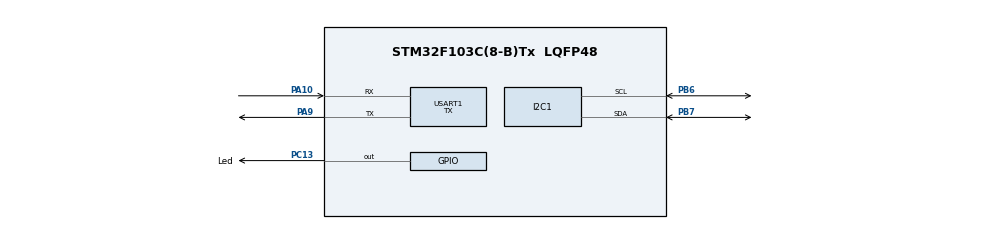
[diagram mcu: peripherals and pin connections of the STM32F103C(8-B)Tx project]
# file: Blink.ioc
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Mcu.Family=STM32F1
PC13-TAMPER-RTC.GPIO_Label=Led
RCC.APB2Freq_Value=8000000
USART1.Mode=MODE_TX
PA10.Mode=Asynchronous
PA14.Mode=Serial_Wire
PB7.Signal=I2C1_SDA
PC13-TAMPER-RTC.Signal=GPIO_Output
PA13.Mode=Serial_Wire
Mcu.Name=STM32F103C(8-B)Tx
Mcu.Package=LQFP48
ProjectManager.StackSize=0x400
PA13.Signal=SYS_JTMS-SWDIO
USART1.VirtualMode=VM_ASYNC
PB7.Mode=I2C
PA9.Mode=Asynchronous
PA10.Signal=USART1_RX
PA14.Signal=SYS_JTCK-SWCLK
ProjectManager.HeapSize=0x200
ProjectManager.TargetToolchain=STM32CubeIDE
NVIC.PriorityGroup=NVIC_PRIORITYGROUP_4
PA9.Signal=USART1_TX
PB6.Signal=I2C1_SCL
PB6.Mode=I2C
RCC.APB1Freq_Value=8000000
board=custom

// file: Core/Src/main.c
/* USER CODE BEGIN Header */
/**
  ******************************************************************************
  * @file           : main.c
  * @brief          : Main program body
  ******************************************************************************
  * @attention
  *
  * <h2><center>&copy; Copyright (c) 2021 STMicroelectronics.
  * All rights reserved.</center></h2>
  *
  * This software component is licensed by ST under BSD 3-Clause license,
  * the "License"; You may not use this file except in compliance with the
  * License. You may obtain a copy of the License at:
  *                        opensource.org/licenses/BSD-3-Clause
  *
  ******************************************************************************
  */
/* USER CODE END Header */
#include "main.h"

I2C_HandleTypeDef hi2c1;

UART_HandleTypeDef huart1;

/* USER CODE BEGIN PV */

uint8_t Buffer[25] = {0};
uint8_t Space[] = " - ";
uint8_t StartMSG[] = "Starting I2C Scanning: \r\n";
uint8_t EndMSG[] = "Done! \r\n\r\n";

/* USER CODE END PV */

void SystemClock_Config(void);
static void MX_GPIO_Init(void);
static void MX_I2C1_Init(void);
static void MX_USART1_UART_Init(void);

int main(void)
{
  /* USER CODE BEGIN 1 */
	 uint8_t i = 0, ret;
  /* USER CODE END 1 */

  /* MCU Configuration--------------------------------------------------------*/

  /* Reset of all peripherals, Initializes the Flash interface and the Systick. */
  HAL_Init();

  /* Configure the system clock */
  SystemClock_Config();

  /* Initialize all configured peripherals */
  MX_GPIO_Init();
  MX_I2C1_Init();
  MX_USART1_UART_Init();
  /* USER CODE BEGIN 2 */

  HAL_Delay(1000);

  /*-[ I2C Bus Scanning ]-*/
      HAL_UART_Transmit(&huart1, StartMSG, sizeof(StartMSG), 10000);
      for(i=1; i<128; i++)
      {
          ret = HAL_I2C_IsDeviceReady(&hi2c1, (uint16_t)(i<<1), 3, 5);
          if (ret != HAL_OK) /* No ACK Received At That Address */
          {
              HAL_UART_Transmit(&huart1, Space, sizeof(Space), 10000);
          }
          else if(ret == HAL_OK)
          {
              sprintf(Buffer, "0x%X", i);
              HAL_UART_Transmit(&huart1, Buffer, sizeof(Buffer), 10000);
          }
      }
      HAL_UART_Transmit(&huart1, EndMSG, sizeof(EndMSG), 10000);

  /* USER CODE END 2 */

  /* Infinite loop */
  /* USER CODE BEGIN WHILE */
  while (1)
  {
	  HAL_GPIO_TogglePin(Led_GPIO_Port,Led_Pin); //Toggle LED

	  HAL_Delay(250); //Delay 1 Seconds
    /* USER CODE END WHILE */

  }
}

void SystemClock_Config(void)
{
  RCC_OscInitTypeDef RCC_OscInitStruct = {0};
  RCC_ClkInitTypeDef RCC_ClkInitStruct = {0};

  /** Initializes the RCC Oscillators according to the specified parameters
  * in the RCC_OscInitTypeDef structure.
  */
  RCC_OscInitStruct.OscillatorType = RCC_OSCILLATORTYPE_HSI;
  RCC_OscInitStruct.HSIState = RCC_HSI_ON;
  RCC_OscInitStruct.HSICalibrationValue = RCC_HSICALIBRATION_DEFAULT;
  RCC_OscInitStruct.PLL.PLLState = RCC_PLL_NONE;
  if (HAL_RCC_OscConfig(&RCC_OscInitStruct) != HAL_OK)
  {
    Error_Handler();
  }
  /** Initializes the CPU, AHB and APB buses clocks
  */
  RCC_ClkInitStruct.ClockType = RCC_CLOCKTYPE_HCLK|RCC_CLOCKTYPE_SYSCLK
                              |RCC_CLOCKTYPE_PCLK1|RCC_CLOCKTYPE_PCLK2;
  RCC_ClkInitStruct.SYSCLKSource = RCC_SYSCLKSOURCE_HSI;
  RCC_ClkInitStruct.AHBCLKDivider = RCC_SYSCLK_DIV1;
  RCC_ClkInitStruct.APB1CLKDivider = RCC_HCLK_DIV1;
  RCC_ClkInitStruct.APB2CLKDivider = RCC_HCLK_DIV1;

  if (HAL_RCC_ClockConfig(&RCC_ClkInitStruct, FLASH_LATENCY_0) != HAL_OK)
  {
    Error_Handler();
  }
}

static void MX_I2C1_Init(void)
{

  hi2c1.Instance = I2C1;
  hi2c1.Init.ClockSpeed = 100000;
  hi2c1.Init.DutyCycle = I2C_DUTYCYCLE_2;
  hi2c1.Init.OwnAddress1 = 0;
  hi2c1.Init.AddressingMode = I2C_ADDRESSINGMODE_7BIT;
  hi2c1.Init.DualAddressMode = I2C_DUALADDRESS_DISABLE;
  hi2c1.Init.OwnAddress2 = 0;
  hi2c1.Init.GeneralCallMode = I2C_GENERALCALL_DISABLE;
  hi2c1.Init.NoStretchMode = I2C_NOSTRETCH_DISABLE;
  if (HAL_I2C_Init(&hi2c1) != HAL_OK)
  {
    Error_Handler();
  }

}

static void MX_USART1_UART_Init(void)
{

  huart1.Instance = USART1;
  huart1.Init.BaudRate = 115200;
  huart1.Init.WordLength = UART_WORDLENGTH_8B;
  huart1.Init.StopBits = UART_STOPBITS_1;
  huart1.Init.Parity = UART_PARITY_NONE;
  huart1.Init.Mode = UART_MODE_TX;
  huart1.Init.HwFlowCtl = UART_HWCONTROL_NONE;
  huart1.Init.OverSampling = UART_OVERSAMPLING_16;
  if (HAL_UART_Init(&huart1) != HAL_OK)
  {
    Error_Handler();
  }

}

static void MX_GPIO_Init(void)
{
  GPIO_InitTypeDef GPIO_InitStruct = {0};

  /* GPIO Ports Clock Enable */
  __HAL_RCC_GPIOC_CLK_ENABLE();
  __HAL_RCC_GPIOA_CLK_ENABLE();
  __HAL_RCC_GPIOB_CLK_ENABLE();

  /*Configure GPIO pin Output Level */
  HAL_GPIO_WritePin(Led_GPIO_Port, Led_Pin, GPIO_PIN_RESET);

  /*Configure GPIO pin : Led_Pin */
  GPIO_InitStruct.Pin = Led_Pin;
  GPIO_InitStruct.Mode = GPIO_MODE_OUTPUT_PP;
  GPIO_InitStruct.Pull = GPIO_NOPULL;
  GPIO_InitStruct.Speed = GPIO_SPEED_FREQ_LOW;
  HAL_GPIO_Init(Led_GPIO_Port, &GPIO_InitStruct);

}

void Error_Handler(void)
{
  __disable_irq();
  while (1)
  {
  }
}

/************************ (C) COPYRIGHT STMicroelectronics *****END OF FILE****/
